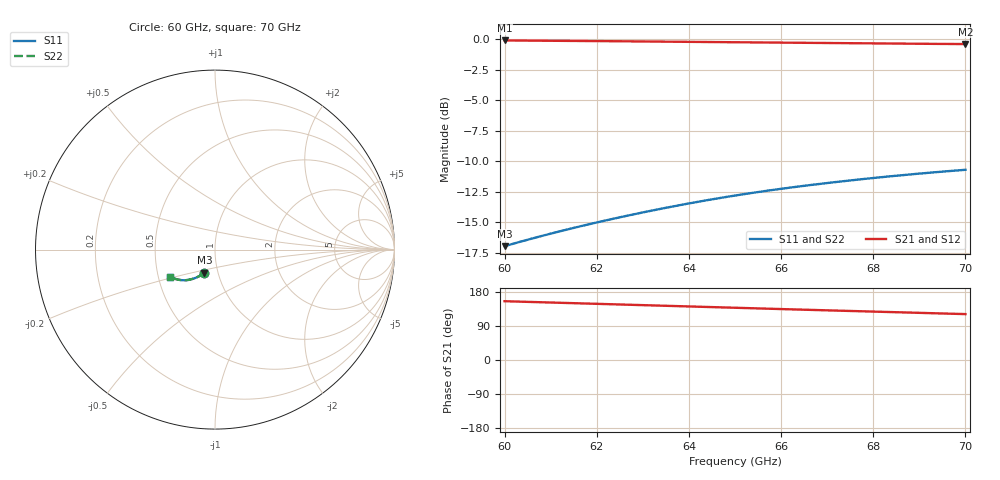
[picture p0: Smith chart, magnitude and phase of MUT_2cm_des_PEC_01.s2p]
! TOUCHSTONE file generated by CST MICROWAVE STUDIO
! Date and time: Mon Feb 26 23:43:56 2024
! Project name: material_desal.cst
! Header version: 2018
! Port assignment regex: !\s*Touchstone port\s*([0-9]+)\s*=\s*(CST MWS port|CST DS port)\s*([0-9]+|Zmin|Zmax)\s*\(\"(.*)\"\)(\s*mode\s*([0-9]+))?.*
! Touchstone port assignment:
! Touchstone port 1 = CST MWS port 1 ("")
! Touchstone port 2 = CST MWS port 2 ("")
# GHz S MA R 376.7
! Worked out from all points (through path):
!   1001 points, 60 GHz to 70 GHz, reference 376.7 ohm
!   highest |S21| = -0.09 dB at 60 GHz (marker M1); lowest = -0.4 dB at 70 GHz (marker M2)
!   group delay of S21, straight-line fit = 9.46 ps
!   lowest |S11| = -16.9 dB at 60 GHz (marker M3), VSWR 1.33, Z = 324 - j85.3 ohm
!   |S11| at or under -10 dB: start of sweep to end of sweep
!   |S22| runs from -16.9 to -10.7 dB; largest |S21 - S12| = 0.00039
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60  0.1421 -114.8  0.9899 155.1  0.9898 155.1  0.1421 -115.0
60.05  0.143 -114.9  0.9897 155.0  0.9897 155.0  0.143 -115.1
60.47  0.1505 -116.4  0.9886 153.5  0.9886 153.5  0.1505 -116.6
60.9  0.1581 -117.9  0.9874 152.0  0.9875 152.0  0.1581 -118.0
61.28  0.1649 -119.3  0.9863 150.7  0.9864 150.7  0.1649 -119.4
61.67  0.1719 -120.6  0.9851 149.3  0.9852 149.3  0.1719 -120.7
62.08  0.1792 -122.1  0.9838 147.9  0.9839 147.9  0.1791 -122.1
62.5  0.1866 -123.6  0.9824 146.4  0.9825 146.4  0.1866 -123.6
62.92  0.194 -125.1  0.9809 145.0  0.981 144.9  0.194 -125.1
63.34  0.2013 -126.6  0.9795 143.5  0.9795 143.5  0.2013 -126.5
63.77  0.2087 -128.1  0.9779 142.0  0.9779 142.0  0.2087 -128.0
64.19  0.2159 -129.5  0.9764 140.6  0.9763 140.6  0.2158 -129.5
64.6  0.2227 -130.9  0.9749 139.2  0.9747 139.1  0.2226 -130.9
65  0.2291 -132.2  0.9734 137.8  0.9732 137.8  0.229 -132.2
65.39  0.2351 -133.5  0.9719 136.5  0.9717 136.4  0.2351 -133.5
65.8  0.2412 -134.9  0.9704 135.1  0.9702 135.1  0.2412 -134.9
66.67  0.2534 -137.8  0.9672 132.1  0.9671 132.1  0.2535 -137.8
67.51  0.2643 -140.7  0.9642 129.3  0.9642 129.3  0.2645 -140.7
68.34  0.2744 -143.4  0.9615 126.6  0.9616 126.6  0.2745 -143.5
69.25  0.2845 -146.4  0.9587 123.6  0.9588 123.6  0.2845 -146.5
69.95  0.2916 -148.7  0.9568 121.3  0.9568 121.3  0.2916 -148.7
70  0.2921 -148.8  0.9567 121.1  0.9567 121.1  0.2921 -148.9
